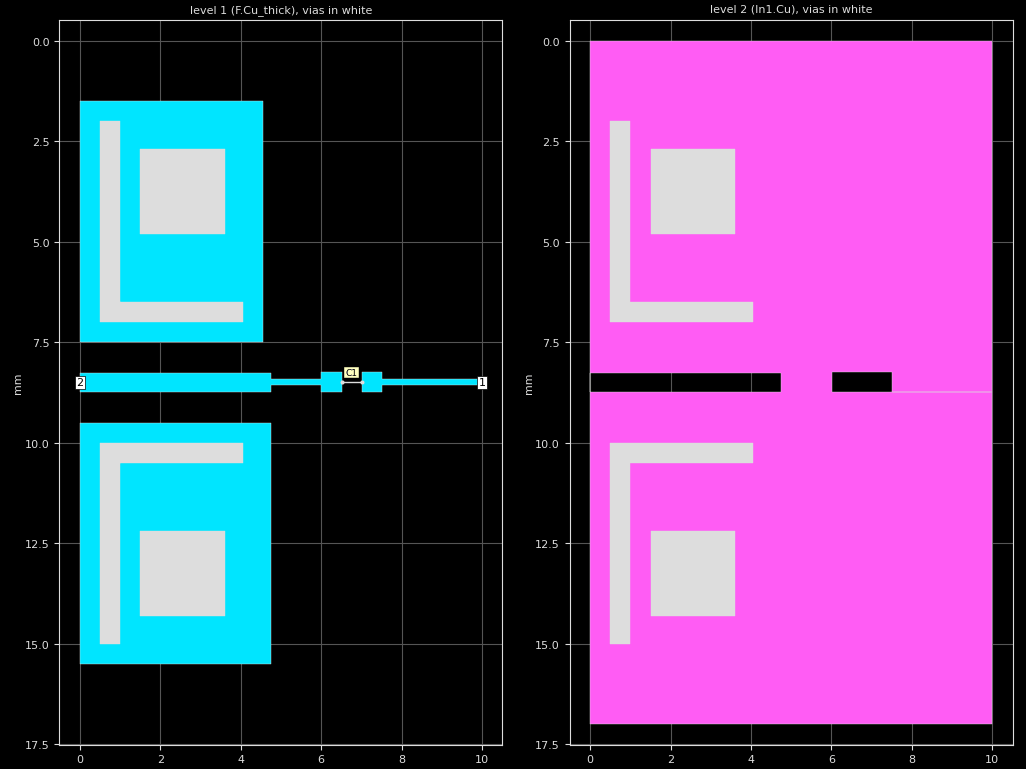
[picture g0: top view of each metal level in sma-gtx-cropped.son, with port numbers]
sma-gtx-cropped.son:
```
FTYP SONPROJ 19 ! Sonnet Project File
VER 18.52
HEADER
LIC antikernel2.1.51176
DAT 02/13/2022 13:15:38
BUILT_BY_CREATED dxf 18.52 12/15/2021 18:24:32
BUILT_BY_SAVED sonnet 18.52
MDATE 02/13/2022 13:15:38
HDATE 02/13/2022 13:15:38
ANN Created by dxfgeo, Sonnet Software Inc.
END HEADER
DIM
ANG DEG
CAP PF
CON /OH
FREQ GHZ
IND NH
LNG MM
RES OH
END DIM
CONTROL
VARSWP
OPTIONS  -dj
SPEED 1
CACHE_ABS 2
Q_ACC N
END CONTROL
GEO
SYM
DRP1 LEFT NONE 1
DRP1 RIGHT NONE 0.75
TMET "Free Space" 0 FREESPACE 376.7303136 0 0 0
BMET "Lossless" 0 SUP 0 0 0 0
MET "Copper_1oz_thin" 1 NOR 58000000 0.5 0.035 
MET "Copper_1oz_thick" 2 TMM 58000000 0.5 0.035 2
MET "Copper_0.5oz_thin" 4 NOR 58000000 0.5 0.017 
MET "Copper_0.5oz_thick" 12 TMM 58000000 0.5 0.017 2
MET "Copper_0.5oz_thick_down" 5 TMM 58000000 0.5 0.017 2 CDVY TDWN
MET "Copper_1oz_thick_down" 3 TMM 58000000 0.5 0.035 2 CDVY TDWN
BOX 12 10 17 800 1360 20 0
      5 1 1 0 0 0 0 "Air"
      0.04 3.5 1 0.025 0 0 0 "Soldermask"
      0.075 3.39 1 0.004 0 0 0 "Panasonic_R-5775(G)"
      0.068 3.56 1 0.004 0 0 0 "Panasonic_R-5670(G)"
      0.13 3.39 1 0.004 0 0 0 "Panasonic_R-5775(G)"
      0.092 3.56 1 0.004 0 0 0 "Panasonic_R-5670(G)"
      0.609 3.39 1 0.004 0 0 0 "Panasonic_R-5775(G)"
      0.092 3.56 1 0.004 0 0 0 "Panasonic_R-5670(G)"
      0.13 3.39 1 0.004 0 0 0 "Panasonic_R-5775(G)"
      0.068 3.56 1 0.004 0 0 0 "Panasonic_R-5670(G)"
      0.075 3.39 1 0.004 0 0 0 "Panasonic_R-5775(G)"
      0.04 3.5 1 0.025 0 0 0 "Soldermask"
      5 1 1 0 0 0 0 "Air"
TECHLAY METAL F.Cu_thick L1D0 -2 -65534 CAD F.Cu_thick drawing 
1 0 1 N 6470 1 1 100 100 0 0 0 Y
END
END
TECHLAY VIA Via1 L9D0 -13 -65534 CAD Via1 drawing 
VIA POLYGON
1 0 -1 N 6474 1 1 100 100 0 0 0 Y
TOLEVEL 10 RING NOCOVERS
END
END
TECHLAY METAL F.Cu_thin <UNSPECIFIED> -1 -65534 CAD F.Cu_thin drawing 
1 0 0 N 6476 1 1 100 100 0 0 0 Y
END
END
TECHLAY METAL In1.Cu L2D0 -3 -65534 CAD In1.Cu drawing 
2 0 0 N 6481 1 1 100 100 0 0 0 Y
END
END
TECHLAY METAL In2.Cu_thick L3D0 -5 -65534 CAD In2.Cu_thick drawing 
3 0 3 N 6484 1 1 100 100 0 0 0 Y
END
END
TECHLAY METAL In2.Cu_thin <UNSPECIFIED> -4 -65534 CAD In2.Cu drawing 
3 0 2 N 6486 1 1 100 100 0 0 0 Y
END
END
TECHLAY METAL In3.Cu L4D0 -6 -65534 CAD In3.Cu drawing 
4 0 0 N 6489 1 1 100 100 0 0 0 Y
END
END
TECHLAY METAL In4.Cu L5D0 -7 -65534 CAD In4.Cu drawing 
7 0 0 N 6494 1 1 100 100 0 0 0 Y
END
END
TECHLAY METAL In5.Cu_thick L6D0 -9 -65534 CAD In5.Cu_thick drawing 
8 0 4 N 6497 1 1 100 100 0 0 0 Y
END
END
TECHLAY METAL In5.Cu_thin <UNSPECIFIED> -8 -65534 CAD In5.Cu drawing 
8 0 2 N 6499 1 1 100 100 0 0 0 Y
END
END
TECHLAY METAL In6.Cu L7D0 -10 -65534 CAD In6.Cu drawing 
9 0 0 N 6502 1 1 100 100 0 0 0 Y
END
END
TECHLAY METAL B.Cu_thick L8D0 -12 -65534 CAD B.Cu_thick drawing 
10 0 5 N 6505 1 1 100 100 0 0 0 Y
END
END
TECHLAY METAL B.Cu_thin <UNSPECIFIED> -11 -65534 CAD B.Cu_thin drawing 
10 0 0 N 6507 1 1 100 100 0 0 0 Y
END
END
LORGN 0 17 U 
POR1 BOX
POLY 6086 1
5
2 50 0 0 0 0.007 8.5 
POR1 BOX
POLY 6263 1
1
1 50 0 0 0 10 8.5 
SMD 1 "C1"
ID 6099
GNDREF BOX
DRP1 LEFT NONE 1
DRP1 RIGHT NONE 1
SBOX 6.632 6.882 8.4625 8.5375
PBSHW N
LPOS 6.757 8.4625
TYPE IDEAL CAP 100000
SMDP 1 7.007 8.5 R 3 1 
EXSMDP
GNDREF BOX AUTO
TERMW FEED
END EXSMDP
SMDP 1 6.507 8.5 L 4 2 
EXSMDP
GNDREF BOX AUTO
TERMW FEED
END EXSMDP
END
NUM 9
1 13 1 N 6086 1 1 100 100 0 0 0 Y
TLAYNAM F.Cu_thick INH
6.507 8.25
6.007 8.25
6.007 8.43
4.757 8.43
4.757 8.26
0.007 8.26
0.007 8.74
4.757 8.74
4.757 8.57
6.007 8.57
6.007 8.75
6.507 8.75
6.507 8.25
END
1 5 1 N 6088 1 1 100 100 0 0 0 Y
TLAYNAM F.Cu_thick INH
4.757 9.5
0.007 9.5
0.007 15.5
4.757 15.5
4.757 9.5
END
1 9 1 N 6263 1 1 100 100 0 0 0 Y
TLAYNAM F.Cu_thick INH
7.507 8.57
10 8.57
10 8.43
7.507 8.43
7.507 8.25
7.007 8.25
7.007 8.75
7.507 8.75
7.507 8.57
END
1 5 1 N 6299 1 1 100 100 0 0 0 Y
TLAYNAM F.Cu_thick INH
4.557 1.5
0 1.5
0 7.5
4.557 7.5
4.557 1.5
END
VIA POLYGON
1 5 -1 N 6187 1 1 100 100 0 0 0 Y
TOLEVEL 10 RING NOCOVERS
TLAYNAM Via1 INH
1.507 2.7
3.6 2.7
3.6 4.8
1.507 4.8
1.507 2.7
END
VIA POLYGON
1 5 -1 N 6189 1 1 100 100 0 0 0 Y
TOLEVEL 10 RING NOCOVERS
TLAYNAM Via1 INH
1.507 12.2
3.6 12.2
3.6 14.3
1.507 14.3
1.507 12.2
END
VIA POLYGON
1 8 -1 N 6425 1 1 100 100 0 0 0 Y
TOLEVEL 10 RING NOCOVERS
TLAYNAM Via1 INH
4.05 6.5
1 6.5
1 2
0.5 2
0.5 6.5
0.5 7
4.05 7
4.05 6.5
END
VIA POLYGON
1 8 -1 N 6426 1 1 100 100 0 0 0 Y
TOLEVEL 10 RING NOCOVERS
TLAYNAM Via1 INH
4.05 10.5
1 10.5
1 15
0.5 15
0.5 10.5
0.5 10
4.05 10
4.05 10.5
END
2 20 0 N 6452 1 1 100 100 0 0 0 Y
TLAYNAM In1.Cu INH
10 8.75
10 8.75
7.507 8.75
6.007 8.75
6.007 8.25
7.507 8.25
7.507 8.75
10 8.75
10 0
0 0
0 8.74
0.007 8.74
0.007 8.26
4.757 8.26
4.757 8.74
0.007 8.74
0 8.74
0 17
10 17
10 8.75
END
END GEO
OPT
MAX 100
END OPT
VARSWP
ENABLED Y
FREQ Y AY ABS_ENTRY 0.001 16.0 -1 300 
END
END VARSWP
3DOPTIONS
GLOBAL 2
ALL 13 1
END 3DOPTIONS
```
